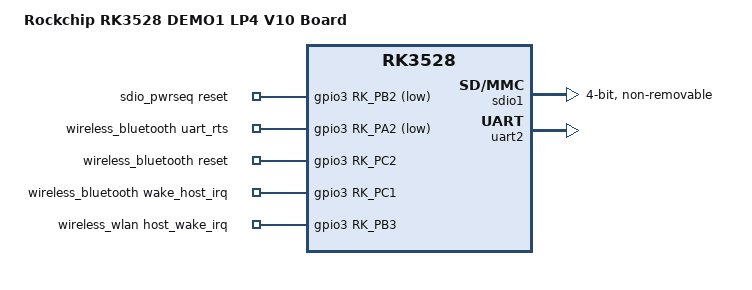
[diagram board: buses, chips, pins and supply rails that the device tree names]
// SPDX-License-Identifier: (GPL-2.0+ OR MIT)
/*
 * Copyright (c) 2022 Rockchip Electronics Co., Ltd.
 *
 */

/dts-v1/;

#include "rk3528.dtsi"
#include "rk3528-demo.dtsi"

/ {
	model = "Rockchip RK3528 DEMO1 LP4 V10 Board";
	compatible = "rockchip,rk3528-demo1-lp4-v10", "rockchip,rk3528";

	sdio_pwrseq: sdio-pwrseq {
		compatible = "mmc-pwrseq-simple";
		pinctrl-names = "default";
		pinctrl-0 = <&wifi_enable_h &wifi_reset &clkm0_32k_out>;
		reset-gpios = <&gpio3 RK_PB2 GPIO_ACTIVE_LOW>;
	};

	wireless_bluetooth: wireless-bluetooth {
		compatible = "bluetooth-platdata";
		//wifi-bt-power-toggle;
		uart_rts_gpios = <&gpio3 RK_PA2 GPIO_ACTIVE_LOW>;
		pinctrl-names = "default", "rts_gpio";
		pinctrl-0 = <&uart2m0_rtsn>;
		pinctrl-1 = <&uart2m0_gpios>;
		BT,reset_gpio    = <&gpio3 RK_PC2 GPIO_ACTIVE_HIGH>;
		BT,wake_host_irq = <&gpio3 RK_PC1 GPIO_ACTIVE_HIGH>;
		status = "okay";
	};

	wireless_wlan: wireless-wlan {
		compatible = "wlan-platdata";
		rockchip,grf = <&grf>;
		wifi_chip_type = "rtl8822cs";
		pinctrl-names = "default";
		pinctrl-0 = <&wifi_host_wake_irq>;
		WIFI,host_wake_irq = <&gpio3 RK_PB3 GPIO_ACTIVE_HIGH>;
		status = "okay";
	};
};

&sdio1 {
	max-frequency = <200000000>;
	no-sd;
	no-mmc;
	supports-sdio;
	bus-width = <4>;
	disable-wp;
	cap-sd-highspeed;
	cap-sdio-irq;
	keep-power-in-suspend;
	non-removable;
	mmc-pwrseq = <&sdio_pwrseq>;
	pinctrl-names = "default";
	pinctrl-0 = <&sdio1_bus4 &sdio1_cmd &sdio1_clk>;
	sd-uhs-sdr104;
	status = "okay";
};

&uart2 {
	status = "okay";
	pinctrl-names = "default";
	pinctrl-0 = <&uart2m0_xfer &uart2m0_ctsn>;
};

&pinctrl {
	sdio-pwrseq {
		wifi_enable_h: wifi-enable-h {
			rockchip,pins = <3 RK_PB2 RK_FUNC_GPIO &pcfg_pull_none>;
		};
	};

	wireless-wlan {
		wifi_host_wake_irq: wifi-host-wake-irq {
			rockchip,pins = <3 RK_PB3 RK_FUNC_GPIO &pcfg_pull_down>;
		};

		wifi_reset: wifi-reset {
			rockchip,pins = <3 RK_PB4 RK_FUNC_GPIO &pcfg_output_high>;
		};
	};

	wireless-bluetooth {
		uart2m0_gpios: uart2m0-gpios {
			rockchip,pins = <3 RK_PA2 RK_FUNC_GPIO &pcfg_pull_none>;
		};
	};
};
